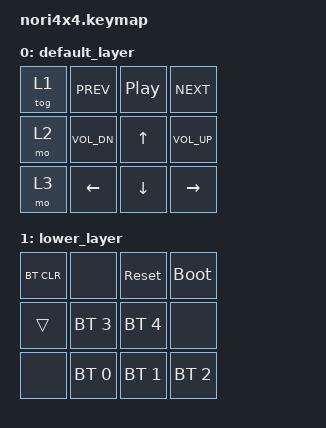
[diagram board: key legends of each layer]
/*
 * Copyright (c) 2020 The ZMK Contributors
 *
 * SPDX-License-Identifier: MIT
 */

#include <behaviors.dtsi>
#include <dt-bindings/zmk/keys.h>
#include <dt-bindings/zmk/bt.h>

/ {
    keymap {
        compatible = "zmk,keymap";

        default_layer {

            bindings = <
    &tog 1 &kp C_PREV   &kp C_PP &kp C_NEXT
    &mo 2  &kp C_VOL_DN &kp UP   &kp C_VOL_UP
    &mo 3  &kp LEFT     &kp DOWN &kp RIGHT
            >;

        };


        lower_layer {
            bindings = <
    &bt BT_CLR &none        &sys_reset       &bootloader
    &trans     &bt BT_SEL 3 &bt BT_SEL 4 &none
    &none      &bt BT_SEL 0 &bt BT_SEL 1 &bt BT_SEL 2
            >;
        };
    };
};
